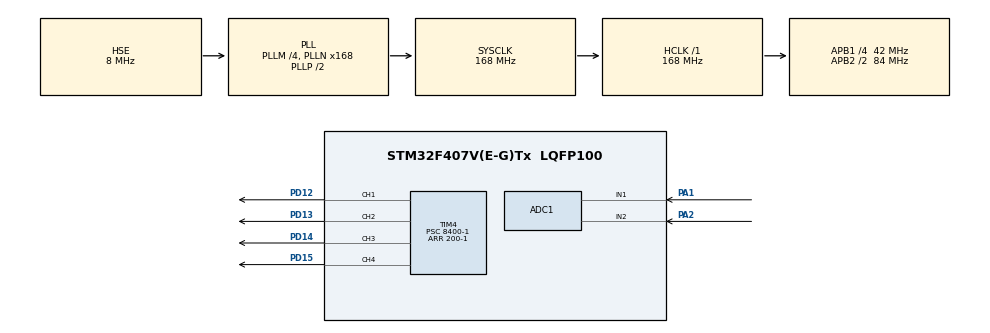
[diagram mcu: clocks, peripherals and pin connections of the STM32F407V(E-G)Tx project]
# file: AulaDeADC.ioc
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ADC1.Channel-0\#ChannelRegularConversion=ADC_CHANNEL_1
ADC1.Channel-1\#ChannelRegularConversion=ADC_CHANNEL_2
ADC1.ClockPrescaler=ADC_CLOCK_SYNC_PCLK_DIV8
ADC1.DMAContinuousRequests=ENABLE
ADC1.EOCSelection=ADC_EOC_SEQ_CONV
ADC1.ExternalTrigConv=ADC_EXTERNALTRIGCONV_T3_TRGO
ADC1.NbrOfConversion=2
ADC1.NbrOfConversionFlag=1
ADC1.Rank-0\#ChannelRegularConversion=1
ADC1.Rank-1\#ChannelRegularConversion=2
ADC1.SamplingTime-0\#ChannelRegularConversion=ADC_SAMPLETIME_480CYCLES
ADC1.SamplingTime-1\#ChannelRegularConversion=ADC_SAMPLETIME_480CYCLES
ADC1.ScanConvMode=ENABLE
ADC1.master=1
Dma.ADC1.0.Direction=DMA_PERIPH_TO_MEMORY
Dma.ADC1.0.FIFOMode=DMA_FIFOMODE_DISABLE
Dma.ADC1.0.Instance=DMA2_Stream0
Dma.ADC1.0.MemDataAlignment=DMA_MDATAALIGN_HALFWORD
Dma.ADC1.0.MemInc=DMA_MINC_ENABLE
Dma.ADC1.0.Mode=DMA_CIRCULAR
Dma.ADC1.0.PeriphDataAlignment=DMA_PDATAALIGN_HALFWORD
Dma.ADC1.0.PeriphInc=DMA_PINC_DISABLE
Dma.ADC1.0.Priority=DMA_PRIORITY_LOW
Dma.MEMTOMEM.1.Direction=DMA_MEMORY_TO_MEMORY
Dma.MEMTOMEM.1.FIFOMode=DMA_FIFOMODE_ENABLE
Dma.MEMTOMEM.1.FIFOThreshold=DMA_FIFO_THRESHOLD_FULL
Dma.MEMTOMEM.1.Instance=DMA2_Stream1
Dma.MEMTOMEM.1.MemBurst=DMA_MBURST_INC4
Dma.MEMTOMEM.1.MemDataAlignment=DMA_MDATAALIGN_WORD
Dma.MEMTOMEM.1.MemInc=DMA_MINC_ENABLE
Dma.MEMTOMEM.1.Mode=DMA_NORMAL
Dma.MEMTOMEM.1.PeriphBurst=DMA_PBURST_INC4
Dma.MEMTOMEM.1.PeriphDataAlignment=DMA_PDATAALIGN_WORD
Dma.MEMTOMEM.1.PeriphInc=DMA_PINC_ENABLE
Dma.MEMTOMEM.1.Priority=DMA_PRIORITY_HIGH
Dma.Request0=ADC1
Dma.Request1=MEMTOMEM
Mcu.Family=STM32F4
Mcu.Name=STM32F407V(E-G)Tx
Mcu.Package=LQFP100
NVIC.DMA2_Stream0_IRQn=true\:0\:0\:false\:false\:true\:false\:true\:true
NVIC.DMA2_Stream1_IRQn=true\:0\:0\:false\:false\:true\:true\:true\:true
NVIC.PriorityGroup=NVIC_PRIORITYGROUP_4
PA1.Signal=ADCx_IN1
PA13.Mode=Serial_Wire
PA13.Signal=SYS_JTMS-SWDIO
PA14.Mode=Serial_Wire
PA14.Signal=SYS_JTCK-SWCLK
PA2.Signal=ADCx_IN2
PD12.Signal=S_TIM4_CH1
PD13.Signal=S_TIM4_CH2
PD14.Signal=S_TIM4_CH3
PD15.Signal=S_TIM4_CH4
PH0-OSC_IN.Mode=HSE-External-Oscillator
PH0-OSC_IN.Signal=RCC_OSC_IN
PH1-OSC_OUT.Mode=HSE-External-Oscillator
PH1-OSC_OUT.Signal=RCC_OSC_OUT
ProjectManager.HeapSize=0x200
ProjectManager.StackSize=0x400
ProjectManager.TargetToolchain=STM32CubeIDE
RCC.48MHZClocksFreq_Value=84000000
RCC.AHBFreq_Value=168000000
RCC.APB1CLKDivider=RCC_HCLK_DIV4
RCC.APB1Freq_Value=42000000
RCC.APB1TimFreq_Value=84000000
RCC.APB2CLKDivider=RCC_HCLK_DIV2
RCC.APB2Freq_Value=84000000
RCC.APB2TimFreq_Value=168000000
RCC.CortexFreq_Value=168000000
RCC.HCLKFreq_Value=168000000
RCC.HSE_VALUE=8000000
RCC.HSI_VALUE=16000000
RCC.LSE_VALUE=32768
RCC.PLLM=4
RCC.PLLN=168
RCC.PLLSourceVirtual=RCC_PLLSOURCE_HSE
RCC.SYSCLKFreq_VALUE=168000000
RCC.SYSCLKSource=RCC_SYSCLKSOURCE_PLLCLK
RCC.VCOOutputFreq_Value=336000000
SH.ADCx_IN1.0=ADC1_IN1,IN1
SH.ADCx_IN2.0=ADC1_IN2,IN2
SH.S_TIM4_CH1.0=TIM4_CH1,PWM Generation1 CH1
SH.S_TIM4_CH2.0=TIM4_CH2,PWM Generation2 CH2
SH.S_TIM4_CH3.0=TIM4_CH3,PWM Generation3 CH3
SH.S_TIM4_CH4.0=TIM4_CH4,PWM Generation4 CH4
TIM3.Period=1000-1
TIM3.Prescaler=8400-1
TIM3.TIM_MasterOutputTrigger=TIM_TRGO_UPDATE
TIM4.AutoReloadPreload=TIM_AUTORELOAD_PRELOAD_ENABLE
TIM4.Channel-PWM\ Generation1\ CH1=TIM_CHANNEL_1
TIM4.Channel-PWM\ Generation2\ CH2=TIM_CHANNEL_2
TIM4.Channel-PWM\ Generation3\ CH3=TIM_CHANNEL_3
TIM4.Channel-PWM\ Generation4\ CH4=TIM_CHANNEL_4
TIM4.Period=200-1
TIM4.Prescaler=8400-1
TIM4.Pulse-PWM\ Generation1\ CH1=0
TIM4.Pulse-PWM\ Generation2\ CH2=0
TIM4.Pulse-PWM\ Generation3\ CH3=0
TIM4.Pulse-PWM\ Generation4\ CH4=0
VP_TIM3_VS_ClockSourceINT.Mode=Internal
VP_TIM4_VS_ClockSourceINT.Mode=Internal
board=custom

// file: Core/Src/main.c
/* USER CODE BEGIN Header */
/**
  ******************************************************************************
  * @file           : main.c
  * @brief          : Main program body
  ******************************************************************************
  * @attention
  *
  * Copyright (c) 2024 STMicroelectronics.
  * All rights reserved.
  *
  * This software is licensed under terms that can be found in the LICENSE file
  * in the root directory of this software component.
  * If no LICENSE file comes with this software, it is provided AS-IS.
  *
  ******************************************************************************
  */
/* USER CODE END Header */
#include "main.h"
#include "adc.h"
#include "dma.h"
#include "tim.h"
#include "gpio.h"

/* USER CODE BEGIN PTD */
typedef enum
{
	false = 0,
	true
}typeBool;

typedef struct
{
	int16_t Y;
	int16_t X;
} type_XY;

typedef union
{
	type_XY stick;
	int16_t YX[2];
}type_Stick_Data;

typedef struct
{
	int16_t ADC_Data_XY[2];
	type_Stick_Data StkData;
	uint32_t PWM_Data[4];
	typeBool newData;
}sStick;
/* USER CODE END PTD */

/* USER CODE BEGIN PV */
volatile int16_t ADC1_Canal[2];
uint32_t a=0;
sStick stick;

/* USER CODE END PV */

void SystemClock_Config(void);
/* USER CODE BEGIN PFP */
void MyDMAComplTranfCallback(DMA_HandleTypeDef * myhdma);
/* USER CODE END PFP */

int main(void)
{

  /* MCU Configuration--------------------------------------------------------*/

  /* Reset of all peripherals, Initializes the Flash interface and the Systick. */
  HAL_Init();

  /* Configure the system clock */
  SystemClock_Config();

  /* Initialize all configured peripherals */
  MX_GPIO_Init();
  MX_DMA_Init();
  MX_ADC1_Init();
  MX_TIM3_Init();
  MX_TIM4_Init();
  /* USER CODE BEGIN 2 */

	HAL_TIM_PWM_Start(&htim4, TIM_CHANNEL_1);
	HAL_TIM_PWM_Start(&htim4, TIM_CHANNEL_2);
	HAL_TIM_PWM_Start(&htim4, TIM_CHANNEL_3);
	HAL_TIM_PWM_Start(&htim4, TIM_CHANNEL_4);

	HAL_DMA_RegisterCallback(&hdma_memtomem_dma2_stream1, HAL_DMA_XFER_CPLT_CB_ID, MyDMAComplTranfCallback);

	HAL_TIM_Base_Start(&htim3);
	HAL_ADC_Start_DMA(&hadc1, (uint32_t*)(&(stick.ADC_Data_XY)), 2);

  /* USER CODE END 2 */

  /* Infinite loop */
  while (1)
  {

    /* USER CODE BEGIN 3 */

	  if (stick.newData)
	  {
		  stick.newData = false;
		  stick.StkData.YX[0] = stick.ADC_Data_XY[0] - 0x800;
		  stick.StkData.YX[1] = stick.ADC_Data_XY[1] - 0x800;

		  if (stick.StkData.stick.X >= 0)
		  {
			  stick.PWM_Data[0] = 0;
			  stick.PWM_Data[2] = (stick.StkData.stick.X + 1) * 200 / 2048;
		  }
		  else
		  {
			  stick.PWM_Data[0] = (-stick.StkData.stick.X) * 200 / 2048;
			  stick.PWM_Data[2] = 0;
		  }

		  if (stick.StkData.stick.Y >= 0)
		  {
			  stick.PWM_Data[3] = 0;
			  stick.PWM_Data[1] = (stick.StkData.stick.Y + 1) * 200 / 2048;
		  }
		  else
		  {
			  stick.PWM_Data[3] = (-stick.StkData.stick.Y) * 200 / 2048;
			  stick.PWM_Data[1] = 0;
		  }

		  //Precisa configura no cube o MEMO TO MEMO
		  HAL_DMA_Start_IT(&hdma_memtomem_dma2_stream1, (uint32_t)stick.PWM_Data, (uint32_t)(&(htim4.Instance->CCR1)), 4);
		  //__HAL_UNLOCK(&hdma_memtomem_dma2_stream1);
		  //HAL_DMA_PollForTransfer(&hdma_memtomem_dma2_stream1, HAL_DMA_FULL_TRANSFER, 2);
		  //HAL_DMA_Start(&hdma_memtomem_dma2_stream1, (uint32_t)stick.PWM_Data, (uint32_t)(&(htim4.Instance->CCR1)), 4);
		  //__HAL_TIM_SET_COMPARE(&htim4, TIM_CHANNEL_1, stick.PWM_Data[0]);
		  //__HAL_TIM_SET_COMPARE(&htim4, TIM_CHANNEL_2, stick.PWM_Data[1]);
		  //__HAL_TIM_SET_COMPARE(&htim4, TIM_CHANNEL_3, stick.PWM_Data[2]);
		  //__HAL_TIM_SET_COMPARE(&htim4, TIM_CHANNEL_4, stick.PWM_Data[3]);
	  }
  }
  /* USER CODE END 3 */
}

void SystemClock_Config(void)
{
  RCC_OscInitTypeDef RCC_OscInitStruct = {0};
  RCC_ClkInitTypeDef RCC_ClkInitStruct = {0};

  /** Configure the main internal regulator output voltage
  */
  __HAL_RCC_PWR_CLK_ENABLE();
  __HAL_PWR_VOLTAGESCALING_CONFIG(PWR_REGULATOR_VOLTAGE_SCALE1);

  /** Initializes the RCC Oscillators according to the specified parameters
  * in the RCC_OscInitTypeDef structure.
  */
  RCC_OscInitStruct.OscillatorType = RCC_OSCILLATORTYPE_HSE;
  RCC_OscInitStruct.HSEState = RCC_HSE_ON;
  RCC_OscInitStruct.PLL.PLLState = RCC_PLL_ON;
  RCC_OscInitStruct.PLL.PLLSource = RCC_PLLSOURCE_HSE;
  RCC_OscInitStruct.PLL.PLLM = 4;
  RCC_OscInitStruct.PLL.PLLN = 168;
  RCC_OscInitStruct.PLL.PLLP = RCC_PLLP_DIV2;
  RCC_OscInitStruct.PLL.PLLQ = 4;
  if (HAL_RCC_OscConfig(&RCC_OscInitStruct) != HAL_OK)
  {
    Error_Handler();
  }

  /** Initializes the CPU, AHB and APB buses clocks
  */
  RCC_ClkInitStruct.ClockType = RCC_CLOCKTYPE_HCLK|RCC_CLOCKTYPE_SYSCLK
                              |RCC_CLOCKTYPE_PCLK1|RCC_CLOCKTYPE_PCLK2;
  RCC_ClkInitStruct.SYSCLKSource = RCC_SYSCLKSOURCE_PLLCLK;
  RCC_ClkInitStruct.AHBCLKDivider = RCC_SYSCLK_DIV1;
  RCC_ClkInitStruct.APB1CLKDivider = RCC_HCLK_DIV4;
  RCC_ClkInitStruct.APB2CLKDivider = RCC_HCLK_DIV2;

  if (HAL_RCC_ClockConfig(&RCC_ClkInitStruct, FLASH_LATENCY_5) != HAL_OK)
  {
    Error_Handler();
  }
}

/* USER CODE BEGIN 4 */

void HAL_ADC_ConvCpltCallback(ADC_HandleTypeDef* hadc)
{
	stick.newData = true;
}

void MyDMAComplTranfCallback(DMA_HandleTypeDef * myhdma)
{
	a++;
}

/* USER CODE END 4 */

void Error_Handler(void)
{
  __disable_irq();
  while (1)
  {
  }
}
